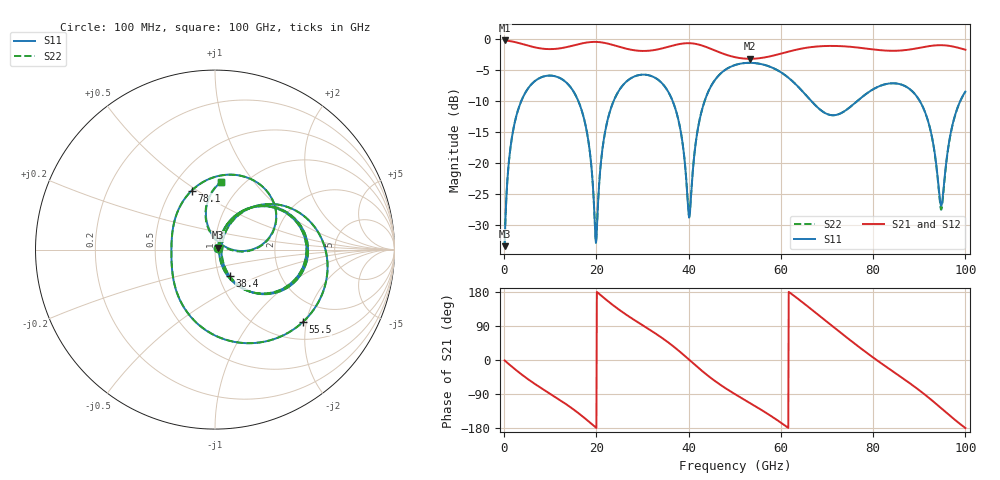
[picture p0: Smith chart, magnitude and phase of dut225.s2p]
! Touchstone file exported from HFSS 2026.1.0
!  File:  C:/ffzhzh/LocalFiles/Ansys_Project_Files/temp_train_TSV_RDL_225_1783663608_26216.aedt
!  Generated:  02:16:43 PM Jul 10, 2026
!  Design:  TSV_RDL
!  Project:  temp_train_TSV_RDL_225_1783663608_26216
! Variables:
!  h_bsmrdl = 2.67um
!  h_ox = 20um
!  h_rdl = 5um
!  h_sub = 88.54um
!  h_tmrdl = 4.21um
!  h_tsv = 88.54um
!  h_via = 3um
!  l_bsmrdl = 565.75um
!  l_sub = 2842.15um
!  l_tmrdl = 160.77um
!  m_sub = 200um
!  pitch = 40.52um
!  r_tsv = 7.09um
!  s_tmrdl = 10um
!  w_bsmrdl = 16.78um
!  w_sub = 500um
!  w_tmrdl = 17.16um
!  x_tsv_center1 = 169.35um
!  x_tsv_center2 = 751.88um
!  x_tsv_center3 = 929.81um
!  x_tsv_center4 = 1512.34um
!  x_tsv_center5 = 1690.27um
!  x_tsv_center6 = 2272.8um
# GHz S MA R 50.000000
! Terminal data exported
! Port[1] = TM_RDL1_1_T1
! Port[2] = TM_RDL5_1_T1
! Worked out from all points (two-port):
!   1000 points, 100 MHz to 100 GHz, reference 50 ohm
!   highest |S21| = -0.16 dB at 100 MHz (marker M1); lowest = -3.1 dB at 53.3 GHz (marker M2)
!   |S21| within 3 dB of the highest: start of sweep to end of sweep
!   lowest |S11| = -33.5 dB at 100 MHz (marker M3), VSWR 1.04, Z = 51.9 + j1.05 ohm
!   |S11| at or under -10 dB: 16.09 GHz to 23.72 GHz (7.634 GHz wide, 38.3 % of centre); 66.61 GHz to 76.53 GHz (9.917 GHz wide, 13.9 % of centre); 90.13 GHz to 98.87 GHz (8.747 GHz wide, 9.26 % of centre) (the widest 3 of 5)
!   |S22| runs from -33.5 to -3.8 dB; largest |S21 - S12| = 6.1e-12
!   S11 on the Smith chart (normalised r, x): 100 MHz: 1.04, +0.02; 38.4 GHz: 1.12, -0.34; 55.5 GHz: 1.41, -1.90; 78.1 GHz: 0.63, +0.47; 100 GHz: 0.80, +0.70
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0.1  0.02111 28.7  0.9816 -1.1  0.9816 -1.1  0.02111 28.7
! Gamma 0 0 0 0
! Port Impedance 50 0 50 0
1.8  0.1706 63.3  0.9623 -18.8  0.9623 -18.8  0.1706 63.4
5  0.3919 37.3  0.8949 -49.1  0.8949 -49.1  0.3918 37.3
10.6  0.5072 -5.6  0.8364 -94.0  0.8364 -94.0  0.5072 -5.6
16.8  0.2671 -54.7  0.9279 -146.9  0.9279 -146.9  0.2671 -54.6
19.9  0.02243 -1.9  0.9554 -178.3  0.9554 -178.3  0.02295 -1.8
23.9  0.3276 47.3  0.8954 141.9  0.8954 141.9  0.3276 47.2
33.4  0.4709 -24.3  0.8319 65.2  0.8319 65.2  0.4709 -24.2
38.4  0.1696 -61.2  0.9234 18.8  0.9234 18.8  0.1697 -60.7
40.2  0.03669 10.1  0.9326 -0.2  0.9326 -0.2  0.03794 9.9
43.4  0.3117 49.0  0.8801 -33.8  0.8801 -33.8  0.312 48.9
50.1  0.6212 -2.3  0.7177 -90.5  0.7177 -90.5  0.6214 -2.3
53.3  0.6466 -24.3  0.6971 -113.6  0.6971 -113.6  0.6467 -24.2
55.5  0.6342 -39.6  0.706 -129.7  0.706 -129.7  0.6343 -39.5
61.9  0.4803 -89.6  0.8013 178.1  0.8013 178.1  0.4804 -89.4
66.7  0.3137 -133.7  0.8687 132.9  0.8687 132.9  0.3138 -133.5
72.1  0.2451 170.9  0.8852 80.3  0.8852 80.3  0.2451 171.1
78.1  0.353 111.7  0.8475 23.6  0.8475 23.6  0.3531 111.6
83.4  0.4392 66.6  0.8103 -22.8  0.8103 -22.8  0.4392 66.4
90.9  0.2772 7.9  0.8672 -88.3  0.8672 -88.3  0.2771 7.2
94.7  0.04511 46.7  0.8989 -126.6  0.8989 -126.6  0.04184 45.8
100  0.378 84.9  0.8262 -179.5  0.8262 -179.5  0.3774 85.3
